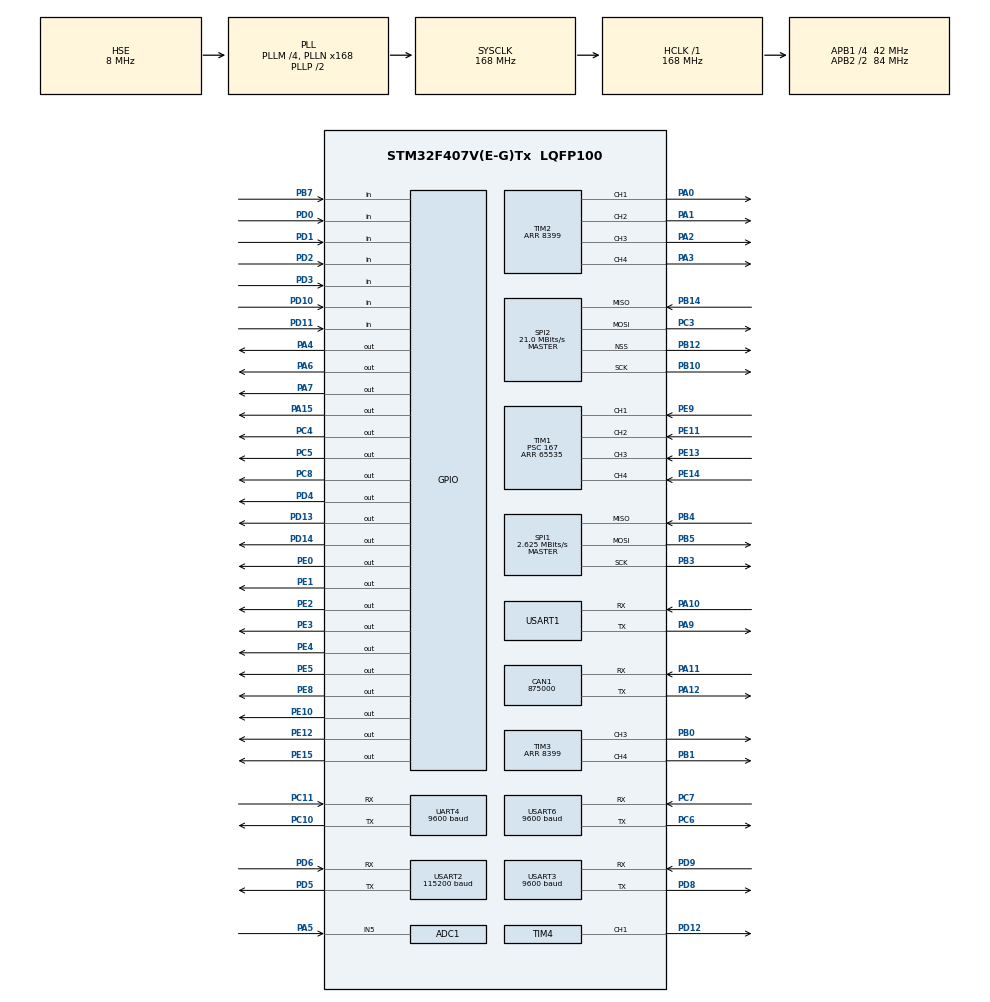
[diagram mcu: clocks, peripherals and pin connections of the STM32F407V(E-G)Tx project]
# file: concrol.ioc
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ADC1.Channel-1\#ChannelRegularConversion=ADC_CHANNEL_5
ADC1.ExternalTrigConv=ADC_SOFTWARE_START
ADC1.NbrOfConversion=1
ADC1.NbrOfConversionFlag=1
ADC1.Rank-1\#ChannelRegularConversion=1
ADC1.SamplingTime-1\#ChannelRegularConversion=ADC_SAMPLETIME_3CYCLES
ADC1.ScanConvMode=DISABLE
ADC1.master=1
CAN1.BS1=CAN_BS1_1TQ
CAN1.BS2=CAN_BS2_1TQ
CAN1.CalculateBaudRate=875000
CAN1.CalculateTimeBit=1142
CAN1.CalculateTimeQuantum=380.95238095238096
Dma.Request0=SPI1_RX
Dma.Request1=SPI1_TX
Dma.Request10=USART2_RX
Dma.Request2=SPI2_RX
Dma.Request3=USART3_RX
Dma.Request4=UART4_RX
Dma.Request5=USART6_RX
Dma.Request6=USART1_TX
Dma.Request7=USART2_TX
Dma.Request8=USART3_TX
Dma.Request9=USART1_RX
Dma.SPI1_RX.0.Direction=DMA_PERIPH_TO_MEMORY
Dma.SPI1_RX.0.FIFOMode=DMA_FIFOMODE_DISABLE
Dma.SPI1_RX.0.Instance=DMA2_Stream0
Dma.SPI1_RX.0.MemDataAlignment=DMA_MDATAALIGN_BYTE
Dma.SPI1_RX.0.MemInc=DMA_MINC_ENABLE
Dma.SPI1_RX.0.Mode=DMA_NORMAL
Dma.SPI1_RX.0.PeriphDataAlignment=DMA_PDATAALIGN_BYTE
Dma.SPI1_RX.0.PeriphInc=DMA_PINC_DISABLE
Dma.SPI1_RX.0.Priority=DMA_PRIORITY_LOW
Dma.SPI1_TX.1.Direction=DMA_MEMORY_TO_PERIPH
Dma.SPI1_TX.1.FIFOMode=DMA_FIFOMODE_DISABLE
Dma.SPI1_TX.1.Instance=DMA2_Stream3
Dma.SPI1_TX.1.MemDataAlignment=DMA_MDATAALIGN_BYTE
Dma.SPI1_TX.1.MemInc=DMA_MINC_ENABLE
Dma.SPI1_TX.1.Mode=DMA_NORMAL
Dma.SPI1_TX.1.PeriphDataAlignment=DMA_PDATAALIGN_BYTE
Dma.SPI1_TX.1.PeriphInc=DMA_PINC_DISABLE
Dma.SPI1_TX.1.Priority=DMA_PRIORITY_LOW
Dma.SPI2_RX.2.Direction=DMA_PERIPH_TO_MEMORY
Dma.SPI2_RX.2.FIFOMode=DMA_FIFOMODE_DISABLE
Dma.SPI2_RX.2.Instance=DMA1_Stream3
Dma.SPI2_RX.2.MemDataAlignment=DMA_MDATAALIGN_BYTE
Dma.SPI2_RX.2.MemInc=DMA_MINC_ENABLE
Dma.SPI2_RX.2.Mode=DMA_NORMAL
Dma.SPI2_RX.2.PeriphDataAlignment=DMA_PDATAALIGN_BYTE
Dma.SPI2_RX.2.PeriphInc=DMA_PINC_DISABLE
Dma.SPI2_RX.2.Priority=DMA_PRIORITY_LOW
Dma.UART4_RX.4.Direction=DMA_PERIPH_TO_MEMORY
Dma.UART4_RX.4.FIFOMode=DMA_FIFOMODE_DISABLE
Dma.UART4_RX.4.Instance=DMA1_Stream2
Dma.UART4_RX.4.MemDataAlignment=DMA_MDATAALIGN_BYTE
Dma.UART4_RX.4.MemInc=DMA_MINC_ENABLE
Dma.UART4_RX.4.Mode=DMA_NORMAL
Dma.UART4_RX.4.PeriphDataAlignment=DMA_PDATAALIGN_BYTE
Dma.UART4_RX.4.PeriphInc=DMA_PINC_DISABLE
Dma.UART4_RX.4.Priority=DMA_PRIORITY_LOW
Dma.USART1_RX.9.Direction=DMA_PERIPH_TO_MEMORY
Dma.USART1_RX.9.FIFOMode=DMA_FIFOMODE_DISABLE
Dma.USART1_RX.9.Instance=DMA2_Stream2
Dma.USART1_RX.9.MemDataAlignment=DMA_MDATAALIGN_BYTE
Dma.USART1_RX.9.MemInc=DMA_MINC_ENABLE
Dma.USART1_RX.9.Mode=DMA_NORMAL
Dma.USART1_RX.9.PeriphDataAlignment=DMA_PDATAALIGN_BYTE
Dma.USART1_RX.9.PeriphInc=DMA_PINC_DISABLE
Dma.USART1_RX.9.Priority=DMA_PRIORITY_LOW
Dma.USART1_TX.6.Direction=DMA_MEMORY_TO_PERIPH
Dma.USART1_TX.6.FIFOMode=DMA_FIFOMODE_DISABLE
Dma.USART1_TX.6.Instance=DMA2_Stream7
Dma.USART1_TX.6.MemDataAlignment=DMA_MDATAALIGN_BYTE
Dma.USART1_TX.6.MemInc=DMA_MINC_ENABLE
Dma.USART1_TX.6.Mode=DMA_NORMAL
Dma.USART1_TX.6.PeriphDataAlignment=DMA_PDATAALIGN_BYTE
Dma.USART1_TX.6.PeriphInc=DMA_PINC_DISABLE
Dma.USART1_TX.6.Priority=DMA_PRIORITY_LOW
Dma.USART2_RX.10.Direction=DMA_PERIPH_TO_MEMORY
Dma.USART2_RX.10.FIFOMode=DMA_FIFOMODE_DISABLE
Dma.USART2_RX.10.Instance=DMA1_Stream5
Dma.USART2_RX.10.MemDataAlignment=DMA_MDATAALIGN_BYTE
Dma.USART2_RX.10.MemInc=DMA_MINC_ENABLE
Dma.USART2_RX.10.Mode=DMA_NORMAL
Dma.USART2_RX.10.PeriphDataAlignment=DMA_PDATAALIGN_BYTE
Dma.USART2_RX.10.PeriphInc=DMA_PINC_DISABLE
Dma.USART2_RX.10.Priority=DMA_PRIORITY_LOW
Dma.USART2_TX.7.Direction=DMA_MEMORY_TO_PERIPH
Dma.USART2_TX.7.FIFOMode=DMA_FIFOMODE_DISABLE
Dma.USART2_TX.7.Instance=DMA1_Stream6
Dma.USART2_TX.7.MemDataAlignment=DMA_MDATAALIGN_BYTE
Dma.USART2_TX.7.MemInc=DMA_MINC_ENABLE
Dma.USART2_TX.7.Mode=DMA_NORMAL
Dma.USART2_TX.7.PeriphDataAlignment=DMA_PDATAALIGN_BYTE
Dma.USART2_TX.7.PeriphInc=DMA_PINC_DISABLE
Dma.USART2_TX.7.Priority=DMA_PRIORITY_LOW
Dma.USART3_RX.3.Direction=DMA_PERIPH_TO_MEMORY
Dma.USART3_RX.3.FIFOMode=DMA_FIFOMODE_DISABLE
Dma.USART3_RX.3.Instance=DMA1_Stream1
Dma.USART3_RX.3.MemDataAlignment=DMA_MDATAALIGN_BYTE
Dma.USART3_RX.3.MemInc=DMA_MINC_ENABLE
Dma.USART3_RX.3.Mode=DMA_NORMAL
Dma.USART3_RX.3.PeriphDataAlignment=DMA_PDATAALIGN_BYTE
Dma.USART3_RX.3.PeriphInc=DMA_PINC_DISABLE
Dma.USART3_RX.3.Priority=DMA_PRIORITY_LOW
Dma.USART3_TX.8.Direction=DMA_MEMORY_TO_PERIPH
Dma.USART3_TX.8.FIFOMode=DMA_FIFOMODE_DISABLE
Dma.USART3_TX.8.Instance=DMA1_Stream4
Dma.USART3_TX.8.MemDataAlignment=DMA_MDATAALIGN_BYTE
Dma.USART3_TX.8.MemInc=DMA_MINC_ENABLE
Dma.USART3_TX.8.Mode=DMA_NORMAL
Dma.USART3_TX.8.PeriphDataAlignment=DMA_PDATAALIGN_BYTE
Dma.USART3_TX.8.PeriphInc=DMA_PINC_DISABLE
Dma.USART3_TX.8.Priority=DMA_PRIORITY_LOW
Dma.USART6_RX.5.Direction=DMA_PERIPH_TO_MEMORY
Dma.USART6_RX.5.FIFOMode=DMA_FIFOMODE_DISABLE
Dma.USART6_RX.5.Instance=DMA2_Stream1
Dma.USART6_RX.5.MemDataAlignment=DMA_MDATAALIGN_BYTE
Dma.USART6_RX.5.MemInc=DMA_MINC_ENABLE
Dma.USART6_RX.5.Mode=DMA_NORMAL
Dma.USART6_RX.5.PeriphDataAlignment=DMA_PDATAALIGN_BYTE
Dma.USART6_RX.5.PeriphInc=DMA_PINC_DISABLE
Dma.USART6_RX.5.Priority=DMA_PRIORITY_LOW
FREERTOS.BinarySemaphores01=Sem_TxComplete,Dynamic,NULL,Available;Sem_RS485_Rx,Dynamic,NULL,Available;Sem_RS485_Tx,Dynamic,NULL,Available;ODrivePort1ResponseSem,Dynamic,NULL,Available;ODrivePort2ResponseSem,Dynamic,NULL,Available
FREERTOS.Mutexes01=myMutex_Serial,Dynamic,NULL,Available;ODrivePort1Mutex,Dynamic,NULL,Available;ODrivePort2Mutex,Dynamic,NULL,Available
FREERTOS.Queues01=Queue_RxData,16,76,1,Dynamic,NULL,NULL;Queue_TxData,16,140,1,Dynamic,NULL,NULL;Queue_SR04Data,4,68,1,Dynamic,NULL,NULL
FREERTOS.Tasks01=defaultTask,24,128,StartDefaultTask,Default,NULL,Dynamic,NULL,NULL;Task_Motion,40,1024,StartTask_Motion,Default,NULL,Dynamic,NULL,NULL;Task_Comm,32,512,StartTask_Comm,Default,NULL,Dynamic,NULL,NULL;Task_BMS_Sensor,24,512,StartTask_BMS_Sensor,Default,NULL,Dynamic,NULL,NULL;Task_Report,8,512,StartTask_Report,Default,NULL,Dynamic,NULL,NULL;Task_SerialTx,24,256,StartTask_SerialTx,Default,NULL,Dynamic,NULL,NULL
FREERTOS.configTOTAL_HEAP_SIZE=40960
Mcu.Family=STM32F4
Mcu.Name=STM32F407V(E-G)Tx
Mcu.Package=LQFP100
NVIC.ADC_IRQn=true\:5\:0\:false\:false\:true\:true\:true\:true\:true
NVIC.DMA1_Stream1_IRQn=true\:5\:0\:false\:false\:true\:true\:false\:true\:true
NVIC.DMA1_Stream2_IRQn=true\:5\:0\:false\:false\:true\:true\:false\:true\:true
NVIC.DMA1_Stream3_IRQn=true\:5\:0\:false\:false\:true\:true\:false\:true\:true
NVIC.DMA1_Stream4_IRQn=true\:5\:0\:false\:false\:true\:true\:false\:true\:true
NVIC.DMA1_Stream5_IRQn=true\:5\:0\:false\:false\:true\:true\:false\:true\:true
NVIC.DMA1_Stream6_IRQn=true\:5\:0\:false\:false\:true\:true\:false\:true\:true
NVIC.DMA2_Stream0_IRQn=true\:5\:0\:false\:false\:true\:true\:false\:true\:true
NVIC.DMA2_Stream1_IRQn=true\:5\:0\:false\:false\:true\:true\:false\:true\:true
NVIC.DMA2_Stream2_IRQn=true\:5\:0\:false\:false\:true\:true\:false\:true\:true
NVIC.DMA2_Stream3_IRQn=true\:5\:0\:false\:false\:true\:true\:false\:true\:true
NVIC.DMA2_Stream7_IRQn=true\:5\:0\:false\:false\:true\:true\:false\:true\:true
NVIC.PriorityGroup=NVIC_PRIORITYGROUP_4
NVIC.SPI1_IRQn=true\:5\:0\:false\:false\:true\:true\:true\:true\:true
NVIC.TIM1_CC_IRQn=true\:5\:0\:false\:false\:true\:true\:true\:true\:true
NVIC.TIM1_UP_TIM10_IRQn=true\:5\:0\:false\:false\:true\:true\:true\:true\:true
NVIC.TIM6_DAC_IRQn=true\:15\:0\:false\:false\:true\:false\:true\:true\:true
NVIC.TIM7_IRQn=true\:5\:0\:false\:false\:true\:true\:true\:true\:true
NVIC.TimeBase=TIM6_DAC_IRQn
NVIC.TimeBaseIP=TIM6
NVIC.UART4_IRQn=true\:5\:0\:false\:false\:true\:true\:true\:true\:true
NVIC.USART1_IRQn=true\:5\:0\:false\:false\:true\:true\:true\:true\:true
NVIC.USART2_IRQn=true\:5\:0\:false\:false\:true\:true\:true\:true\:true
NVIC.USART3_IRQn=true\:5\:0\:false\:false\:true\:true\:true\:true\:true
NVIC.USART6_IRQn=true\:5\:0\:false\:false\:true\:true\:true\:true\:true
PA0-WKUP.Signal=S_TIM2_CH1_ETR
PA1.Signal=S_TIM2_CH2
PA10.Mode=Asynchronous
PA10.Signal=USART1_RX
PA11.Mode=CAN_Activate
PA11.Signal=CAN1_RX
PA12.Mode=CAN_Activate
PA12.Signal=CAN1_TX
PA13.Mode=Serial_Wire
PA13.Signal=SYS_JTMS-SWDIO
PA14.Mode=Serial_Wire
PA14.Signal=SYS_JTCK-SWCLK
PA15.Signal=GPIO_Output
PA2.Signal=S_TIM2_CH3
PA3.Signal=S_TIM2_CH4
PA4.GPIO_PuPd=GPIO_PULLUP
PA4.GPIO_Speed=GPIO_SPEED_FREQ_VERY_HIGH
PA4.PinState=GPIO_PIN_SET
PA4.Signal=GPIO_Output
PA5.Signal=ADCx_IN5
PA6.Signal=GPIO_Output
PA7.Signal=GPIO_Output
PA9.Mode=Asynchronous
PA9.Signal=USART1_TX
PB0.Signal=S_TIM3_CH3
PB1.Signal=S_TIM3_CH4
PB10.Mode=Full_Duplex_Master
PB10.Signal=SPI2_SCK
PB12.Mode=NSS_Signal_Hard_Output
PB12.Signal=SPI2_NSS
PB14.Mode=Full_Duplex_Master
PB14.Signal=SPI2_MISO
PB3.Mode=Full_Duplex_Master
PB3.Signal=SPI1_SCK
PB4.Mode=Full_Duplex_Master
PB4.Signal=SPI1_MISO
PB5.Mode=Full_Duplex_Master
PB5.Signal=SPI1_MOSI
PB7.Signal=GPIO_Input
PC10.Mode=Asynchronous
PC10.Signal=UART4_TX
PC11.Mode=Asynchronous
PC11.Signal=UART4_RX
PC14-OSC32_IN.Mode=LSE-External-Oscillator
PC14-OSC32_IN.Signal=RCC_OSC32_IN
PC15-OSC32_OUT.Mode=LSE-External-Oscillator
PC15-OSC32_OUT.Signal=RCC_OSC32_OUT
PC3.Mode=Full_Duplex_Master
PC3.Signal=SPI2_MOSI
PC4.Signal=GPIO_Output
PC5.Signal=GPIO_Output
PC6.Mode=Asynchronous
PC6.Signal=USART6_TX
PC7.Mode=Asynchronous
PC7.Signal=USART6_RX
PC8.Signal=GPIO_Output
PD0.GPIO_PuPd=GPIO_PULLUP
PD0.Signal=GPIO_Input
PD1.GPIO_PuPd=GPIO_PULLUP
PD1.Signal=GPIO_Input
PD10.GPIO_PuPd=GPIO_PULLUP
PD10.Signal=GPIO_Input
PD11.GPIO_PuPd=GPIO_PULLUP
PD11.Signal=GPIO_Input
PD12.Signal=S_TIM4_CH1
PD13.Signal=GPIO_Output
PD14.Signal=GPIO_Output
PD2.GPIO_PuPd=GPIO_PULLUP
PD2.Signal=GPIO_Input
PD3.GPIO_PuPd=GPIO_PULLUP
PD3.Signal=GPIO_Input
PD4.Signal=GPIO_Output
PD5.Mode=Asynchronous
PD5.Signal=USART2_TX
PD6.Mode=Asynchronous
PD6.Signal=USART2_RX
PD8.Mode=Asynchronous
PD8.Signal=USART3_TX
PD9.Mode=Asynchronous
PD9.Signal=USART3_RX
PE0.Signal=GPIO_Output
PE1.Signal=GPIO_Output
PE10.Signal=GPIO_Output
PE11.Signal=S_TIM1_CH2
PE12.Signal=GPIO_Output
PE13.Signal=S_TIM1_CH3
PE14.Signal=S_TIM1_CH4
PE15.Signal=GPIO_Output
PE2.Signal=GPIO_Output
PE3.Signal=GPIO_Output
PE4.Signal=GPIO_Output
PE5.GPIO_PuPd=GPIO_NOPULL
PE5.GPIO_Speed=GPIO_SPEED_FREQ_LOW
PE5.PinState=GPIO_PIN_SET
PE5.Signal=GPIO_Output
PE8.Signal=GPIO_Output
PE9.Signal=S_TIM1_CH1
PH0-OSC_IN.Mode=HSE-External-Oscillator
PH0-OSC_IN.Signal=RCC_OSC_IN
PH1-OSC_OUT.Mode=HSE-External-Oscillator
PH1-OSC_OUT.Signal=RCC_OSC_OUT
ProjectManager.HeapSize=0x200
ProjectManager.StackSize=0x400
ProjectManager.TargetToolchain=MDK-ARM V5.32
RCC.48MHZClocksFreq_Value=84000000
RCC.AHBFreq_Value=168000000
RCC.APB1CLKDivider=RCC_HCLK_DIV4
RCC.APB1Freq_Value=42000000
RCC.APB1TimFreq_Value=84000000
RCC.APB2CLKDivider=RCC_HCLK_DIV2
RCC.APB2Freq_Value=84000000
RCC.APB2TimFreq_Value=168000000
RCC.CortexFreq_Value=168000000
RCC.HCLKFreq_Value=168000000
RCC.HSE_VALUE=8000000
RCC.HSI_VALUE=16000000
RCC.PLLM=4
RCC.PLLN=168
RCC.PLLSourceVirtual=RCC_PLLSOURCE_HSE
RCC.SYSCLKFreq_VALUE=168000000
RCC.SYSCLKSource=RCC_SYSCLKSOURCE_PLLCLK
RCC.VCOOutputFreq_Value=336000000
SH.ADCx_IN5.0=ADC1_IN5,IN5
SH.S_TIM1_CH1.0=TIM1_CH1,Input_Capture1_from_TI1
SH.S_TIM1_CH2.0=TIM1_CH2,Input_Capture2_from_TI2
SH.S_TIM1_CH3.0=TIM1_CH3,Input_Capture3_from_TI3
SH.S_TIM1_CH4.0=TIM1_CH4,Input_Capture4_from_TI4
SH.S_TIM2_CH1_ETR.0=TIM2_CH1,PWM Generation1 CH1
SH.S_TIM2_CH2.0=TIM2_CH2,PWM Generation2 CH2
SH.S_TIM2_CH3.0=TIM2_CH3,PWM Generation3 CH3
SH.S_TIM2_CH4.0=TIM2_CH4,PWM Generation4 CH4
SH.S_TIM3_CH3.0=TIM3_CH3,PWM Generation3 CH3
SH.S_TIM3_CH4.0=TIM3_CH4,PWM Generation4 CH4
SH.S_TIM4_CH1.0=TIM4_CH1,PWM Generation1 CH1
SPI1.BaudRatePrescaler=SPI_BAUDRATEPRESCALER_32
SPI1.CLKPhase=SPI_PHASE_2EDGE
SPI1.CLKPolarity=SPI_POLARITY_HIGH
SPI1.CalculateBaudRate=2.625 MBits/s
SPI1.Direction=SPI_DIRECTION_2LINES
SPI1.Mode=SPI_MODE_MASTER
SPI1.VirtualType=VM_MASTER
SPI2.BaudRatePrescaler=SPI_BAUDRATEPRESCALER_2
SPI2.CalculateBaudRate=21.0 MBits/s
SPI2.Direction=SPI_DIRECTION_2LINES
SPI2.Mode=SPI_MODE_MASTER
SPI2.VirtualNSS=VM_NSSHARD
SPI2.VirtualType=VM_MASTER
TIM1.Channel-Input_Capture1_from_TI1=TIM_CHANNEL_1
TIM1.Channel-Input_Capture2_from_TI2=TIM_CHANNEL_2
TIM1.Channel-Input_Capture3_from_TI3=TIM_CHANNEL_3
TIM1.Channel-Input_Capture4_from_TI4=TIM_CHANNEL_4
TIM1.Period=65535
TIM1.Prescaler=167
TIM2.Channel-PWM\ Generation1\ CH1=TIM_CHANNEL_1
TIM2.Channel-PWM\ Generation2\ CH2=TIM_CHANNEL_2
TIM2.Channel-PWM\ Generation3\ CH3=TIM_CHANNEL_3
TIM2.Channel-PWM\ Generation4\ CH4=TIM_CHANNEL_4
TIM2.Period=8399
TIM3.Channel-PWM\ Generation3\ CH3=TIM_CHANNEL_3
TIM3.Channel-PWM\ Generation4\ CH4=TIM_CHANNEL_4
TIM3.Period=8399
TIM4.Channel-PWM\ Generation1\ CH1=TIM_CHANNEL_1
TIM4.Period=999
TIM4.Prescaler=83
TIM4.Pulse-PWM\ Generation1\ CH1=499
TIM7.Period=499
TIM7.Prescaler=41
UART4.BaudRate=9600
UART4.VirtualMode=Asynchronous
USART1.VirtualMode=VM_ASYNC
USART2.BaudRate=115200
USART2.VirtualMode=VM_ASYNC
USART3.BaudRate=9600
USART3.VirtualMode=VM_ASYNC
USART6.BaudRate=9600
USART6.VirtualMode=VM_ASYNC
VP_FREERTOS_VS_CMSIS_V2.Mode=CMSIS_V2
VP_SYS_VS_tim6.Mode=TIM6
VP_TIM1_VS_ClockSourceINT.Mode=Internal
VP_TIM7_VS_ClockSourceINT.Mode=Enable_Timer
board=custom

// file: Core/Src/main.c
/* USER CODE BEGIN Header */
/**
 ******************************************************************************
 * @file           : main.c
 * @brief          : Main program body
 ******************************************************************************
 * @attention
 *
 * Copyright (c) 2025 STMicroelectronics.
 * All rights reserved.
 *
 * This software is licensed under terms that can be found in the LICENSE file
 * in the root directory of this software component.
 * If no LICENSE file comes with this software, it is provided AS-IS.
 *
 ******************************************************************************
 */
/* USER CODE END Header */
#include "main.h"
#include "cmsis_os.h"
#include "adc.h"
#include "can.h"
#include "dma.h"
#include "spi.h"
#include "tim.h"
#include "usart.h"
#include "gpio.h"

/* USER CODE BEGIN Includes */
#include "app_context.h"
#include "E34.h"
#include "remote_backend.h"
#include "remote_backend_config.h"
#include "sens_ibus_usart2.h"
#include "blade_hil_uart_debug.h"

#include "pairing_receiver.h"
#include "BladeMotor.h"
#include "car_Control.h"
#include "connet_check.h"
#include "car_Control.h"
#include "EG2104.h"

#include "read_adc.h"
#include "odrive_can.h"

#include <errno.h>
#include <stdarg.h>       // 娣诲姞杩欒
#include <string.h>       // 纭繚鍖呭惈string.h
#include <stdio.h>        // 纭繚鍖呭惈stdio.h
#include "serial_port.h"  // 涓插彛閫氫俊
#include "lifter.h"       //鐢靛姩鎺ㄦ潌
#include "mower_config.h" // <<<---绠＄悊鎵€鏈夌殑閰嶇疆鍙傛暟鍜屽畾涔?

#include "rs485.h"
#include "AXEBMS_RS485.h" // BMS鍗忚椹卞姩

#include "modbus_rtu_bus.h" // Modbus鎬荤嚎绠＄悊

#include "icm42688.h"
#include "bsp_imu_solver.h"
#include "tricolor_led.h"
#include "buzzer.h"
#include "heartbeat.h" // <<<--- 1. 鍖呭惈蹇冭烦妯″潡澶存枃浠?
#include "sr04_uart.h"
#include "cruise_control.h"
#include "FreeRTOS.h"
#include "cmsis_os2.h"
/* USER CODE END Includes */

/* USER CODE BEGIN PTD */
uint8_t rx_dma_buffer[RX_BUF_SIZE];
uint8_t status[8];

// 鍏ㄥ眬鍙橀噺瀛樺偍浼犳劅鍣ㄦ暟鎹?
int16_t raw_accel[3];
int16_t raw_gyro[3];
float accel_g[3];  // 瀛樺偍鍔犻€熷害(g)
float gyro_dps[3]; // 瀛樺偍瑙掗€熷害(搴?绉?
uint8_t rx_buffer[255];
uint8_t uart1_rx_buffer[255] = {0};
uint8_t uart3_rx_buffer[255] = {0};
volatile uint16_t new_address1;
volatile uint8_t TESTok;

uint16_t currentA_int = 1;

uint16_t ly = 2048;
uint16_t rx = 2048;
uint8_t Current_angle = 0;

uint8_t Current_rpm;

// #define COMMUNICATION_TIMEOUT_MS 1000 // 1绉掕秴鏃?
// 鍦ㄥ叏灞€鍙橀噺鍖哄畾涔夊噺閫熺浉鍏崇殑鍙傛暟锛屾柟渚胯皟鏁?
#define ADAPTIVE_SPEED_SLOWDOWN_THRESHOLD_CM 100.0f
#define ADAPTIVE_SPEED_STOP_THRESHOLD_CM 50.0f
#define ADAPTIVE_SPEED_REDUCED_SPEED 0.5f

// 澹版槑澶栭儴鐨勫Э鎬佽缁撴瀯浣擄紝浠ヤ究鍦╩ain涓彲浠ヨ闂紙濡傛灉闇€瑕佺殑璇濓級
// extern Angles_t vehicle_angles;

static float g_ultrasonic_distance_cm = -1.0f; // 鐢ㄤ簬淇濆瓨鏈€鏂扮殑鏈夋晥璺濈

// 鍒涘缓涓€涓叏灞€鎴栭潤鎬佺殑BMS瀹炰緥
AXEBMS_RS485 my_bms;

// 鐢ㄦ埛璁惧畾鐨勫熀纭€閫熷害 (榛樿1.5)

float min_distance_cm = 999.0f; // 鍒濆鍖栦负涓€涓緢澶х殑鍊?

// 銆愭柊澧炪€戜繚瀛樼敤鎴疯瀹氱殑妗ｄ綅閫熷害锛岄粯璁?.5f

// 瀛樺偍鍘熷鏁版嵁 (16浣嶆暣鏁?
int16_t test_raw_accel[3];
int16_t test_raw_gyro[3];

// 瀛樺偍杞崲鍚庣殑鐗╃悊閲?(娴偣鏁?
float test_accel_g[3];
float test_gyro_dps[3];
float test_temp;

// 鍊剧炕淇濇姢闃堝€?(鍗曚綅锛氬害)
#define MAX_TILT_ANGLE 50.0f

uint16_t RPM;
uint16_t current_adc;

volatile uint8_t TEST_OK = 0;

Heartbeat_Handle_t g_hb_mower; // 瀹氫箟蹇冭烦瀹炰緥

extern osSemaphoreId_t Sem_TxCompleteWirelessHandle;
extern osSemaphoreId_t Sem_RS485_RxHandle; // 寮曠敤 CubeMX 鍒涘缓鐨勪俊鍙烽噺

void RS485_TxCpltCallback(UART_HandleTypeDef *huart);

/* USER CODE END PTD */

/* USER CODE BEGIN PV */
volatile uint8_t g_10ms_task_flag = 0; // 10ms浠诲姟鏍囧織浣?

static uint32_t g_stopwatch_start_time = 0;
static uint8_t g_stopwatch_running = 0;

volatile uint8_t g_obstacle_detected = 0; // 鍏ㄥ眬闅滅鐗╂娴嬫爣蹇?

// --- 鐢ㄤ簬姝ヨ繘鎺у埗鐨勬寜閿簨浠舵娴嬪彉閲?---
static uint8_t key0_was_pressed = 0;
static uint8_t key1_was_pressed = 0;

bool g_last_key_state[8] = {false};        // 淇濆瓨8涓寜閿殑涓婁竴娆＄姸鎬?(false=鏉惧紑, true=鎸変笅)
static uint32_t g_key_press_time[8] = {0}; // 淇濆瓨8涓寜閿殑鎸変笅璧峰鏃堕棿

static uint32_t obstacle_clear_timestamp = 0; // 鐢ㄤ簬寤惰繜娓呴櫎鐨勮鏃跺櫒

// 褰撳墠瀹為檯杈撳嚭缁欑數鏈虹殑閫熷害 (鐢ㄤ簬骞虫粦澶勭悊)

// 鍔犻€熷害闄愬埗 (姣?00ms澧炲姞鐨勯€熷害鍊?
// 鍋囪 100ms 璋冪敤涓€娆★紝0.1f 琛ㄧず 1绉掑唴閫熷害澧炲姞 1.0
// #define SPEED_RAMP_UP_STEP 0.1f
// #define SPEED_RAMP_DOWN_STEP 0.5f // 鍑忛€熻蹇紝鍔犻€熻鎱?

/* USER CODE END PV */

void SystemClock_Config(void);
void MX_FREERTOS_Init(void);

int main(void)
{

  /* USER CODE BEGIN 1 */
  float angles[3];
  // 1. 立即开启 GPIOA 时钟 (F4 系列)
  __HAL_RCC_GPIOA_CLK_ENABLE();

  // 2. 强行将 PA15 配置为普通的 GPIO 推挽输出，并拉低
  // 在 STM32F4 中，只要将 MODER 寄存器配置为 GPIO Output，引脚就会瞬间脱离 JTAG-JTDI 模式
  // 此时 SWD 调试线（PA13/PA14）依然100%正常工作，不会影响你下载和仿真
  GPIO_InitTypeDef GPIO_InitStruct = {0};
  GPIO_InitStruct.Pin = GPIO_PIN_15;
  GPIO_InitStruct.Mode = GPIO_MODE_OUTPUT_PP;
  GPIO_InitStruct.Pull = GPIO_NOPULL;
  GPIO_InitStruct.Speed = GPIO_SPEED_FREQ_LOW;

  // 先将输出寄存器写 0，确保硬件初始化完毕的瞬间就是低电平，防止毛刺
  HAL_GPIO_WritePin(GPIOA, GPIO_PIN_15, GPIO_PIN_RESET);
  HAL_GPIO_Init(GPIOA, &GPIO_InitStruct);
  /* USER CODE END 1 */

  /* MCU Configuration--------------------------------------------------------*/

  /* Reset of all peripherals, Initializes the Flash interface and the Systick. */
  HAL_Init();

  /* USER CODE BEGIN Init */
  AppContext_RecordBootReset(RCC->CSR);
  __HAL_RCC_CLEAR_RESET_FLAGS();
  /* USER CODE END Init */

  /* Configure the system clock */
  SystemClock_Config();

  /* Initialize all configured peripherals */
  MX_GPIO_Init();
  MX_DMA_Init();
  MX_ADC1_Init();
  MX_TIM1_Init();
  MX_TIM2_Init();
  MX_TIM3_Init();
#if REMOTE_BACKEND_A28_E34
  MX_USART3_UART_Init();
#elif REMOTE_BACKEND_FLYSKY_IBUS
  MX_USART1_UART_Init();
#endif
#if BLADE_HIL_UART_DEBUG_ENABLED || \
    (REMOTE_BACKEND_FLYSKY_IBUS && SENS_IBUS_ELECTRICAL_OUTPUT_ENABLED)
  MX_USART2_UART_Init();
#endif
  MX_SPI1_Init();
  MX_SPI2_Init();
  MX_CAN1_Init();
  MX_TIM4_Init();
  MX_UART4_Init();
  MX_TIM7_Init();
  MX_USART6_UART_Init();
  /* USER CODE BEGIN 2 */
  // ===================================================================
  //                      鏂扮殑銆佺粨鏋勫寲鐨勫垵濮嬪寲娴佺▼
  // ===================================================================

  Serial_Init();
  SensIbusUsart2_Init();
  BladeHilDebug_Init();

  // 2. 鍒濆鍖?CAN 杩囨护鍣ㄤ笌鎺ユ敹涓柇
  User_CAN_Init();

  /* USER CODE END 2 */

  /* Init scheduler */
  osKernelInitialize();  /* Call init function for freertos objects (in cmsis_os2.c) */
  SensIbusUsart2_StartTask();
  MX_FREERTOS_Init();

  /* Start scheduler */
  osKernelStart();

  /* We should never get here as control is now taken by the scheduler */

  /* Infinite loop */
  while (1)
  {

  /* USER CODE END 3 */
}
}
void SystemClock_Config(void)
{
  RCC_OscInitTypeDef RCC_OscInitStruct = {0};
  RCC_ClkInitTypeDef RCC_ClkInitStruct = {0};

  /** Configure the main internal regulator output voltage
  */
  __HAL_RCC_PWR_CLK_ENABLE();
  __HAL_PWR_VOLTAGESCALING_CONFIG(PWR_REGULATOR_VOLTAGE_SCALE1);

  /** Initializes the RCC Oscillators according to the specified parameters
  * in the RCC_OscInitTypeDef structure.
  */
  RCC_OscInitStruct.OscillatorType = RCC_OSCILLATORTYPE_HSE;
  RCC_OscInitStruct.HSEState = RCC_HSE_ON;
  RCC_OscInitStruct.PLL.PLLState = RCC_PLL_ON;
  RCC_OscInitStruct.PLL.PLLSource = RCC_PLLSOURCE_HSE;
  RCC_OscInitStruct.PLL.PLLM = 4;
  RCC_OscInitStruct.PLL.PLLN = 168;
  RCC_OscInitStruct.PLL.PLLP = RCC_PLLP_DIV2;
  RCC_OscInitStruct.PLL.PLLQ = 4;
  if (HAL_RCC_OscConfig(&RCC_OscInitStruct) != HAL_OK)
  {
    Error_Handler();
  }

  /** Initializes the CPU, AHB and APB buses clocks
  */
  RCC_ClkInitStruct.ClockType = RCC_CLOCKTYPE_HCLK|RCC_CLOCKTYPE_SYSCLK
                              |RCC_CLOCKTYPE_PCLK1|RCC_CLOCKTYPE_PCLK2;
  RCC_ClkInitStruct.SYSCLKSource = RCC_SYSCLKSOURCE_PLLCLK;
  RCC_ClkInitStruct.AHBCLKDivider = RCC_SYSCLK_DIV1;
  RCC_ClkInitStruct.APB1CLKDivider = RCC_HCLK_DIV4;
  RCC_ClkInitStruct.APB2CLKDivider = RCC_HCLK_DIV2;

  if (HAL_RCC_ClockConfig(&RCC_ClkInitStruct, FLASH_LATENCY_5) != HAL_OK)
  {
    Error_Handler();
  }
}

/* USER CODE BEGIN 4 */

void HAL_ADC_ConvCpltCallback(ADC_HandleTypeDef *hadc)
{
  // 鍒ゆ柇鏄惁鏄?ADC1
  if (hadc->Instance == ADC1)
  {
    // 璇诲彇褰撳墠 ADC 鍊?
    current_adc = HAL_ADC_GetValue(hadc);

    // 鍒ゆ柇鏄惁杩囨祦 ( > 2200 )
    if (current_adc > 2200)
    {
      // 1. 绔嬪嵆鍋滄鐢垫満
      // BladeMotor_SetSpeed(0.0f);

      // 2. 鍙€夛細璁剧疆涓€涓姤璀︽爣蹇椾綅锛岄槻姝富寰幆涓嶇煡鎯呭張鎵撳紑
      // g_motor_fault = 1;

      // 3. 璋冭瘯鐢細涓轰簡闃叉涓柇閲岀柉鐙傛墦鍗板崱姝伙紝鍙互鍔犱釜璁℃暟鍣ㄩ檺鍒舵墦鍗?
      // static uint8_t print_once = 0;
      // if(print_once == 0) {
      //     Serial_Printf(SERIAL_PORT_2, "OVERCURRENT: %d\r\n", current_val);
      //     print_once = 1;
      // }
    }
  }
}

// 褰?DMA 缂撳啿鍖烘弧 鎴栬€?鍙戠敓 IDLE (绌洪棽) 涓柇鏃讹紝浼氳皟鐢ㄦ鍥炶皟
void HAL_UARTEx_RxEventCallback(UART_HandleTypeDef *huart, uint16_t Size)
{
  if (RemoteBackend_UsesUart((uintptr_t)huart->Instance))
  {
    RemoteBackend_OnUartRx((uintptr_t)huart->Instance, rx_dma_buffer, Size);
    HAL_UARTEx_ReceiveToIdle_DMA(huart, rx_dma_buffer, RX_BUF_SIZE);
  }
  else if (huart->Instance == UART4)
  {
    RS485_RxEventCallback(huart, Size);
  }
  else if (huart->Instance == USART6)
  {
    SR04_RxEventCallback(huart, Size);
  }
}

void HAL_UART_RxCpltCallback(UART_HandleTypeDef *huart)
{
  SensIbusUsart2_OnRxComplete(huart);
}

void HAL_UART_TxCpltCallback(UART_HandleTypeDef *huart)
{
  if (huart->Instance == USART3)
  {
    if (Sem_TxCompleteWirelessHandle != NULL)
    {
      osSemaphoreRelease(Sem_TxCompleteWirelessHandle);
    }
  }
  else if (huart->Instance == UART4)
  {
    RS485_TxCpltCallback(huart);
  }
  else if (huart->Instance == USART2)
  {
#if BLADE_HIL_UART_DEBUG_ENABLED
    BladeHilDebug_OnTxComplete(huart);
#else
    SensIbusUsart2_OnTxComplete(huart);
#endif
  }
}

/**
 * @brief UART 閿欒鍥炶皟鍑芥暟
 * @note  褰撳彂鐢?ORE (婧㈠嚭), NE (鍣０), FE (甯ч敊璇? 鏃讹紝HAL搴撲細璋冪敤姝ゅ嚱鏁?
 *        涓?DMA 鎺ユ敹閫氬父浼氳 HAL 搴撹嚜鍔ㄥ叧闂€傛垜浠渶瑕佸湪杩欓噷閲嶅惎瀹冦€?
 */
void HAL_UART_ErrorCallback(UART_HandleTypeDef *huart)
{
  if (RemoteBackend_UsesUart((uintptr_t)huart->Instance))
  {
    RemoteBackend_OnUartError((uintptr_t)huart->Instance);
  }
  else if (huart->Instance == USART2)
  {
#if !BLADE_HIL_UART_DEBUG_ENABLED
    SensIbusUsart2_OnError(huart);
#endif
  }
  else if (huart->Instance == UART4)
  {
    extern void RS485_Init(void);
    RS485_Init();
  }
}

/* USER CODE END 4 */

void HAL_TIM_PeriodElapsedCallback(TIM_HandleTypeDef *htim)
{
  if (htim->Instance == TIM6)
  {
    HAL_IncTick();
  }
}

void Error_Handler(void)
{
  __disable_irq();
  while (1)
  {
  }
}

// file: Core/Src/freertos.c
/* USER CODE BEGIN Header */
/**
 ******************************************************************************
 * File Name          : freertos.c
 * Description        : Code for freertos applications
 ******************************************************************************
 * @attention
 *
 * Copyright (c) 2026 STMicroelectronics.
 * All rights reserved.
 *
 * This software is licensed under terms that can be found in the LICENSE file
 * in the root directory of this software component.
 * If no LICENSE file comes with this software, it is provided AS-IS.
 *
 ******************************************************************************
 */
/* USER CODE END Header */

#include "FreeRTOS.h"
#include "task.h"
#include "main.h"
#include "cmsis_os.h"

/* USER CODE BEGIN Includes */
#include "pairing_receiver.h"
#include "E34.h"
#include "serial_port.h"
#include "usart.h"
#include "string.h"
#include "stdio.h"
#include "rs485.h"
#include "AXEBMS_RS485.h"
#include "modbus_rtu_bus.h"
#include "tricolor_led.h"
#include "lifter.h"
#include "mower_config.h"
#include "sr04_uart.h"
#include "cruise_control.h"
#include "heartbeat.h"
#include "bsp_imu_solver.h"
#include "icm42688.h"
#include "car_Control.h"
#include "BladeMotor.h"
#include "connet_check.h"
#include "app_context.h"
#include "remote_backend.h"
#include "chassis_control.h"
#include "odrive_can.h"

/* USER CODE END Includes */

/* Definitions for defaultTask */
osThreadId_t defaultTaskHandle;
const osThreadAttr_t defaultTask_attributes = {
  .name = "defaultTask",
  .stack_size = 128 * 4,
  .priority = (osPriority_t) osPriorityNormal,
};
/* Definitions for Task_Motion */
osThreadId_t Task_MotionHandle;
const osThreadAttr_t Task_Motion_attributes = {
  .name = "Task_Motion",
  .stack_size = 1024 * 4,
  .priority = (osPriority_t) osPriorityHigh,
};
/* Definitions for Task_Comm */
osThreadId_t Task_CommHandle;
const osThreadAttr_t Task_Comm_attributes = {
  .name = "Task_Comm",
  .stack_size = 512 * 4,
  .priority = (osPriority_t) osPriorityAboveNormal,
};
/* Definitions for Task_BMS_Sensor */
osThreadId_t Task_BMS_SensorHandle;
const osThreadAttr_t Task_BMS_Sensor_attributes = {
  .name = "Task_BMS_Sensor",
  .stack_size = 512 * 4,
  .priority = (osPriority_t) osPriorityNormal,
};
/* Definitions for Task_Report */
osThreadId_t Task_ReportHandle;
const osThreadAttr_t Task_Report_attributes = {
  .name = "Task_Report",
  .stack_size = 512 * 4,
  .priority = (osPriority_t) osPriorityLow,
};
/* Definitions for Task_WirelessTx */
osThreadId_t Task_WirelessTxHandle;
const osThreadAttr_t Task_WirelessTx_attributes = {
  .name = "Task_WirelessTx",
  .stack_size = 256 * 4,
  .priority = (osPriority_t) osPriorityAboveNormal,
};

osThreadId_t Task_CANTXHandle;
const osThreadAttr_t Task_CANTX_attributes = {
  .name = "Task_CANTx",
  .stack_size = 512 * 4,
  .priority = (osPriority_t) osPriorityHigh,
};
osThreadId_t Task_CANRXHandle;
const osThreadAttr_t Task_CANRX_attributes = {
  .name = "Task_CANRx",
  .stack_size = 512 * 4,
  .priority = (osPriority_t) osPriorityHigh,
};
/* Definitions for Queue_RxData */
osMessageQueueId_t Queue_RxDataHandle;
const osMessageQueueAttr_t Queue_RxData_attributes = {
  .name = "Queue_RxData"
};
/* Definitions for Queue_TxDataWireless */
osMessageQueueId_t Queue_TxDataWirelessHandle;
const osMessageQueueAttr_t Queue_TxDataWireless_attributes = {
  .name = "Queue_TxDataWireless"
};
/* Definitions for Queue_SR04Data */
osMessageQueueId_t Queue_SR04DataHandle;
const osMessageQueueAttr_t Queue_SR04Data_attributes = {
  .name = "Queue_SR04Data"
};
/* Definitions for myMutex_Serial */
osMutexId_t myMutex_SerialHandle;
const osMutexAttr_t myMutex_Serial_attributes = {
  .name = "myMutex_Serial"
};
/* Definitions for Sem_TxCompleteWireless */
osSemaphoreId_t Sem_TxCompleteWirelessHandle;
const osSemaphoreAttr_t Sem_TxCompleteWireless_attributes = {
  .name = "Sem_TxCompleteWireless"
};
/* Definitions for Sem_RS485_Rx */
osSemaphoreId_t Sem_RS485_RxHandle;
const osSemaphoreAttr_t Sem_RS485_Rx_attributes = {
  .name = "Sem_RS485_Rx"
};
/* Definitions for Sem_RS485_Tx */
osSemaphoreId_t Sem_RS485_TxHandle;
const osSemaphoreAttr_t Sem_RS485_Tx_attributes = {
  .name = "Sem_RS485_Tx"
};

osMessageQueueId_t Queue_CanTxHandle;
const osMessageQueueAttr_t Queue_CanTx_attributes = { .name = "Queue_CanTx" };
osMessageQueueId_t Queue_CanRxHandle;
const osMessageQueueAttr_t Queue_CanRx_attributes = { .name = "Queue_CanRx" };

void StartDefaultTask(void *argument);
void StartTask_Motion(void *argument);
void StartTask_Comm(void *argument);
void StartTask_BMS_Sensor(void *argument);
void StartTask_Report(void *argument);
void StartTask_WirelessTx(void *argument);
void StartTask_CANTx(void *argument);
void StartTask_CANRx(void *argument);
void MX_FREERTOS_Init(void); /* (MISRA C 2004 rule 8.1) */

void MX_FREERTOS_Init(void) {
  /* Create the mutex(es) */
  /* creation of myMutex_Serial */
  myMutex_SerialHandle = osMutexNew(&myMutex_Serial_attributes);

  /* Create the semaphores(s) */
  /* creation of Sem_TxCompleteWireless */
  Sem_TxCompleteWirelessHandle = osSemaphoreNew(1, 1, &Sem_TxCompleteWireless_attributes);

  /* creation of Sem_RS485_Rx */
  Sem_RS485_RxHandle = osSemaphoreNew(1, 1, &Sem_RS485_Rx_attributes);

  /* creation of Sem_RS485_Tx */
  Sem_RS485_TxHandle = osSemaphoreNew(1, 1, &Sem_RS485_Tx_attributes);

  /* Create the queue(s) */
  /* creation of Queue_RxData */
  Queue_RxDataHandle = osMessageQueueNew (16, sizeof(RemoteRxMsg_t), &Queue_RxData_attributes);

  /* creation of Queue_TxDataWireless */
  Queue_TxDataWirelessHandle = osMessageQueueNew (16, 140, &Queue_TxDataWireless_attributes);

  /* creation of Queue_SR04Data */
  Queue_SR04DataHandle = osMessageQueueNew (4, 68, &Queue_SR04Data_attributes);

  Queue_CanTxHandle = osMessageQueueNew(256, sizeof(CAN_TxMsg_t), &Queue_CanTx_attributes);
  Queue_CanRxHandle = osMessageQueueNew(128, sizeof(CAN_RxMsg_t), &Queue_CanRx_attributes);

  /* Create the thread(s) */
  /* creation of defaultTask */
  defaultTaskHandle = osThreadNew(StartDefaultTask, NULL, &defaultTask_attributes);

  /* creation of Task_Motion */
  Task_MotionHandle = osThreadNew(StartTask_Motion, NULL, &Task_Motion_attributes);

  /* creation of Task_Comm */
  Task_CommHandle = osThreadNew(StartTask_Comm, NULL, &Task_Comm_attributes);

  /* creation of Task_BMS_Sensor */
  Task_BMS_SensorHandle = osThreadNew(StartTask_BMS_Sensor, NULL, &Task_BMS_Sensor_attributes);

  /* creation of Task_Report */
  Task_ReportHandle = osThreadNew(StartTask_Report, NULL, &Task_Report_attributes);

  /* creation of Task_WirelessTx */
  Task_WirelessTxHandle = osThreadNew(StartTask_WirelessTx, NULL, &Task_WirelessTx_attributes);

  /* creation of Task_CANTX */
  Task_CANTXHandle = osThreadNew(StartTask_CANTx, NULL, &Task_CANTX_attributes);

  /* creation of Task_CANRX */
  Task_CANRXHandle = osThreadNew(StartTask_CANRx, NULL, &Task_CANRX_attributes);

}

void StartDefaultTask(void *argument)
{
  for (;;)
  {
    osDelay(1);
  }
}
